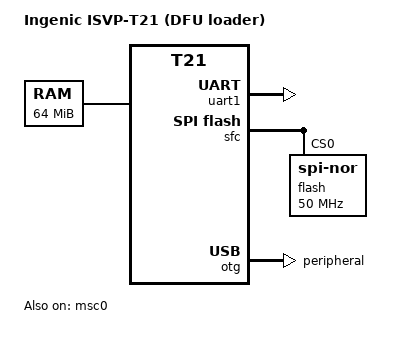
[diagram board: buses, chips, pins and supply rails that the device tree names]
// SPDX-License-Identifier: GPL-2.0+
/*
 * Ingenic ISVP-T21 shared DFU/USB-boot board body.
 *
 * Identical to t21-isvp.dtsi except the DWC2 OTG is dr_mode =
 * "peripheral" so the dwc2_udc_otg gadget binds (dwc2_udc_otg_bind
 * rejects "host"), and the audio nodes stay off. Used by the usbboot
 * defconfig - the dev/flash loader that USB-boots and auto-enters
 * DFU. Production NOR uses t21-isvp.dtsi (dr_mode="host" for USB
 * host + USB-NIC).
 *
 * The per-SKU leaf .dts files (t21n-isvp-dfu.dts, ...) include this
 * and supply the DDR node's per-SKU "ingenic,sdram-params" array; the matching
 * <leaf>-u-boot.dtsi pulls in t21-isvp-dfu-uboot-common.dtsi.
 */

#include <dt-bindings/gpio/gpio.h>
#include "t21.dtsi"

/ {
	compatible = "ingenic,isvp-t21", "ingenic,t21";
	model = "Ingenic ISVP-T21 (DFU loader)";

	aliases {
		serial1 = &uart1;
	};

	chosen {
		stdout-path = "serial1:115200n8";
	};

	memory {
		device_type = "memory";
		reg = <0x0 0x04000000>;	/* 64 MB DDR2 (T21N) */
	};
};

&uart1 {
	status = "okay";
};

&sfc {
	status = "okay";

	flash@0 {
		compatible = "jedec,spi-nor";
		reg = <0>;
		spi-max-frequency = <50000000>;
	};
};

&msc0 {
	status = "okay";
	bus-width = <4>;
	broken-cd;
};

&otg {
	status = "okay";
	dr_mode = "peripheral";		/* gadget bind for DFU/g_dnl */
};
